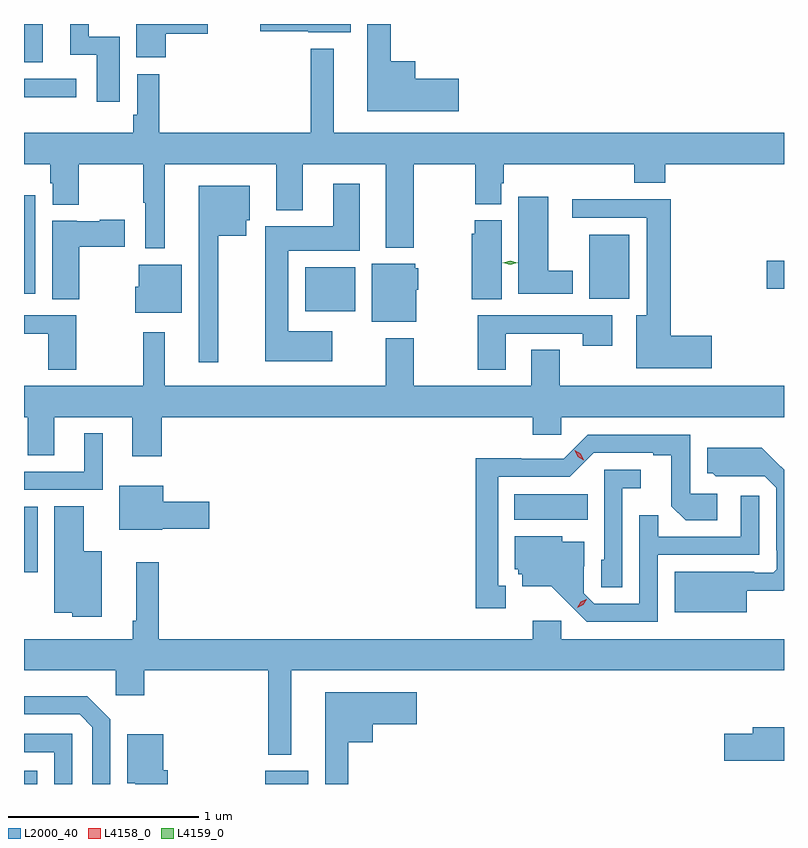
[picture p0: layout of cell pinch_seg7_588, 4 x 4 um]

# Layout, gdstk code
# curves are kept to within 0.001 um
import gdstk
lib = gdstk.Library(unit=1e-6, precision=1e-09)
def R(c, l, rs):  # rectangles x0, y0, x1, y1
    for r in rs: c.add(gdstk.rectangle(r[:2], r[2:], *l))
def P(c, l, *ps):  # polygons
    for p in ps: c.add(gdstk.Polygon(p, *l))
L2000_40 = (2000, 40)
L4158_0 = (4158, 0)
L4159_0 = (4159, 0)

pinch_seg7_588 = lib.new_cell('pinch_seg7_588')
R(pinch_seg7_588, L2000_40, [(145.444,1022.661,145.513,1022.731), (146.714,1022.661,146.941,1022.731), (145.444,1023.776,145.516,1024.12), (148.025,1024.052,148.412,1024.186), (146.924,1025.15,147.187,1025.38), (148.418,1025.216,148.63,1025.551), (145.444,1025.24,145.504,1025.761), (149.352,1025.267,149.444,1025.414), (145.444,1026.461,145.543,1026.661)])
P(pinch_seg7_588, L2000_40, [(147.163,1026.661),(146.688,1026.661),(146.688,1026.623),(146.94,1026.623),(146.94,1026.617),(147.163,1026.617)],
  [(146.189,1026.611),(146.41,1026.611),(146.41,1026.661),(146.036,1026.661),(146.036,1026.486),(146.189,1026.486)],
  [(145.948,1026.594),(145.786,1026.594),(145.786,1026.661),(145.688,1026.661),(145.688,1026.498),(145.826,1026.498),(145.826,1026.252),(145.948,1026.252)],
  [(147.733,1026.374),(147.502,1026.374),(147.502,1026.466),(147.373,1026.466),(147.373,1026.661),(147.251,1026.661),(147.251,1026.203),(147.733,1026.203)],
  [(146.185,1025.924),(146.771,1025.924),(146.771,1025.681),(146.911,1025.681),(146.911,1025.924),(147.347,1025.924),(147.347,1025.483),(147.495,1025.483),(147.495,1025.924),(147.82,1025.924),(147.82,1025.713),(147.955,1025.713),(147.955,1025.823),(147.968,1025.823),(147.968,1025.924),(148.655,1025.924),(148.655,1025.825),(148.82,1025.825),(148.82,1025.924),(149.444,1025.924),(149.444,1026.088),(147.073,1026.088),(147.073,1026.532),(146.952,1026.532),(146.952,1026.088),(146.156,1026.088),(146.156,1026.397),(146.04,1026.397),(146.04,1026.184),(146.02,1026.184),(146.02,1026.088),(145.444,1026.088),(145.444,1025.924),(145.583,1025.924),(145.583,1025.823),(145.595,1025.823),(145.595,1025.711),(145.731,1025.711),(145.731,1025.924),(146.071,1025.924),(146.071,1025.719),(146.081,1025.719),(146.081,1025.48),(146.185,1025.48)],
  [(145.72,1026.372),(145.444,1026.372),(145.444,1026.276),(145.483,1026.276),(145.483,1026.275),(145.72,1026.275)],
  [(147.067,1025.044),(146.836,1025.044),(146.836,1025.468),(147.211,1025.468),(147.211,1025.821),(147.071,1025.821),(147.071,1025.596),(146.714,1025.596),(146.714,1024.886),(147.067,1024.886)],
  [(146.467,1025.546),(146.614,1025.546),(146.614,1025.628),(146.632,1025.628),(146.632,1025.809),(146.363,1025.809),(146.363,1024.881),(146.467,1024.881)],
  [(148.333,1025.362),(148.204,1025.362),(148.204,1025.752),(148.046,1025.752),(148.046,1025.24),(148.333,1025.24)],
  [(149.065,1025.021),(148.847,1025.021),(148.847,1025.738),(148.329,1025.738),(148.329,1025.64),(148.721,1025.64),(148.721,1025.128),(148.667,1025.128),(148.667,1024.85),(149.065,1024.85)],
  [(145.734,1025.489),(145.975,1025.489),(145.975,1025.631),(145.842,1025.631),(145.842,1025.623),(145.722,1025.623),(145.722,1025.626),(145.592,1025.626),(145.592,1025.212),(145.734,1025.212)],
  [(147.958,1025.628),(147.817,1025.628),(147.817,1025.556),(147.8,1025.556),(147.8,1025.212),(147.958,1025.212)],
  [(147.508,1025.262),(147.52,1025.262),(147.52,1025.376),(147.504,1025.376),(147.504,1025.398),(147.275,1025.398),(147.275,1025.093),(147.508,1025.093)],
  [(146.275,1025.395),(146.048,1025.395),(146.048,1025.277),(146.03,1025.277),(146.03,1025.141),(146.275,1025.141)],
  [(145.719,1025.127),(145.444,1025.127),(145.444,1025.031),(145.571,1025.031),(145.571,1024.842),(145.719,1024.842)],
  [(147.979,1025.031),(148.384,1025.031),(148.384,1024.968),(148.54,1024.968),(148.54,1025.127),(147.832,1025.127),(147.832,1024.842),(147.979,1024.842)],
  [(145.444,1024.592),(145.463,1024.592),(145.463,1024.39),(145.603,1024.39),(145.603,1024.592),(146.015,1024.592),(146.015,1024.386),(146.168,1024.386),(146.168,1024.592),(148.121,1024.592),(148.121,1024.499),(148.272,1024.499),(148.272,1024.592),(149.444,1024.592),(149.444,1024.756),(148.263,1024.756),(148.263,1024.946),(148.115,1024.946),(148.115,1024.756),(147.495,1024.756),(147.495,1025.008),(147.347,1025.008),(147.347,1024.756),(146.185,1024.756),(146.185,1025.038),(146.071,1025.038),(146.071,1024.756),(145.444,1024.756)],
  [(145.858,1024.507),(145.76,1024.507),(145.76,1024.305),(145.444,1024.305),(145.444,1024.209),(145.858,1024.209)],
  [(147.979,1023.705),(147.94,1023.705),(147.94,1024.278),(148.317,1024.278),(148.443,1024.404),(148.757,1024.404),(148.757,1024.392),(148.851,1024.392),(148.851,1024.124),(148.927,1024.048),(149.092,1024.048),(149.092,1024.188),(148.95,1024.188),(148.95,1024.5),(148.41,1024.5),(148.284,1024.374),(148.062,1024.374),(148.062,1024.376),(147.822,1024.376),(147.822,1023.585),(147.979,1023.585)],
  [(149.248,1023.677),(149.44,1023.677),(149.444,1023.681),(149.444,1024.314),(149.327,1024.432),(149.039,1024.432),(149.039,1024.296),(149.07,1024.296),(149.086,1024.28),(149.343,1024.281),(149.403,1024.221),(149.403,1023.892),(149.406,1023.892),(149.406,1023.792),(149.388,1023.774),(149.288,1023.774),(149.288,1023.778),(148.868,1023.778),(148.868,1023.566),(149.248,1023.566)],
  [(148.593,1024.217),(148.69,1024.217),(148.69,1024.314),(148.497,1024.314),(148.497,1023.84),(148.482,1023.84),(148.482,1023.697),(148.593,1023.697)],
  [(146.172,1024.004),(146.419,1024.004),(146.419,1024.146),(146.176,1024.146),(146.176,1024.231),(145.946,1024.231),(145.946,1023.998),(146.172,1023.998)],
  [(148.779,1023.867),(149.313,1023.867),(149.313,1024.177),(149.217,1024.177),(149.217,1023.963),(148.781,1023.963),(148.781,1024.076),(148.683,1024.076),(148.683,1023.609),(148.446,1023.609),(148.389,1023.666),(148.389,1023.808),(148.393,1023.808),(148.393,1023.937),(148.278,1023.937),(148.278,1023.964),(148.028,1023.964),(148.028,1023.792),(148.044,1023.792),(148.044,1023.765),(148.067,1023.765),(148.067,1023.701),(148.219,1023.701),(148.406,1023.516),(148.779,1023.516)],
  [(145.852,1023.886),(145.759,1023.886),(145.759,1024.124),(145.604,1024.124),(145.604,1023.563),(145.698,1023.563),(145.698,1023.542),(145.852,1023.542)],
  [(146.036,1023.829),(146.036,1023.52),(146.017,1023.52),(146.017,1023.424),(145.444,1023.424),(145.444,1023.26),(145.926,1023.26),(145.926,1023.129),(146.078,1023.129),(146.078,1023.26),(146.73,1023.26),(146.73,1022.816),(146.851,1022.816),(146.851,1023.26),(149.444,1023.26),(149.444,1023.424),(148.272,1023.424),(148.272,1023.52),(148.121,1023.52),(148.121,1023.424),(146.153,1023.424),(146.153,1023.829)],
  [(147.151,1022.882),(147.28,1022.882),(147.28,1022.975),(147.511,1022.975),(147.511,1023.145),(147.029,1023.145),(147.029,1022.661),(147.151,1022.661)],
  [(145.899,1023.003),(145.778,1023.124),(145.444,1023.124),(145.444,1023.027),(145.737,1023.027),(145.803,1022.961),(145.803,1022.661),(145.899,1022.661)],
  [(149.444,1022.959),(149.279,1022.959),(149.279,1022.925),(149.13,1022.925),(149.13,1022.783),(149.444,1022.783)],
  [(145.698,1022.925),(145.444,1022.925),(145.444,1022.829),(145.602,1022.829),(145.602,1022.661),(145.698,1022.661)],
  [(146.201,1022.733),(146.176,1022.733),(146.176,1022.923),(145.988,1022.923),(145.988,1022.666),(146.03,1022.666),(146.03,1022.661),(146.201,1022.661)])
P(pinch_seg7_588, L4158_0, [(148.356,1023.589),(148.356,1023.589),(148.374,1023.619),(148.404,1023.633),(148.405,1023.633),(148.405,1023.633),(148.387,1023.604),(148.357,1023.589)],
  [(148.39,1024.365),(148.359,1024.384),(148.342,1024.417),(148.342,1024.417),(148.342,1024.417),(148.374,1024.398),(148.391,1024.365),(148.391,1024.365)])
P(pinch_seg7_588, L4159_0, [(148.003,1025.395),(147.963,1025.404),(147.963,1025.405),(147.963,1025.405),(148.003,1025.415),(148.042,1025.405),(148.043,1025.405),(148.042,1025.404)])

lib.write_gds('pinch_seg7_588.gds')
